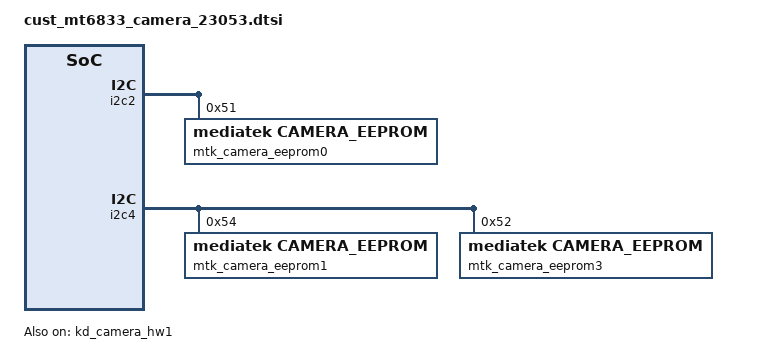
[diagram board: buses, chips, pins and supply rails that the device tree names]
/*
 * Copyright (c) 2019 MediaTek Inc.
 *
 * This program is free software; you can redistribute it and/or modify
 * it under the terms of the GNU General Public License version 2 as
 * published by the Free Software Foundation.
 *
 * This program is distributed in the hope that it will be useful,
 * but WITHOUT ANY WARRANTY; without even the implied warranty of
 * MERCHANTABILITY or FITNESS FOR A PARTICULAR PURPOSE.  See the
 * GNU General Public License for more details.
 */
/* CAMERA GPIO standardization */
&pio {
	camera_pins_cam0_rst_0: cam0@0 {
		pins_cmd_dat {
			pinmux = <PINMUX_GPIO54__FUNC_GPIO54>;
			slew-rate = <1>;
			output-low;
		};
	};
	camera_pins_cam0_rst_1: cam0@1 {
		pins_cmd_dat {
			pinmux = <PINMUX_GPIO54__FUNC_GPIO54>;
			slew-rate = <1>;
			output-high;
		};
	};
	camera_pins_cam1_rst_0: cam1@0 {
		pins_cmd_dat {
			pinmux = <PINMUX_GPIO60__FUNC_GPIO60>;
			slew-rate = <1>;
			output-low;
		};
	};
	camera_pins_cam1_rst_1: cam1@1 {
		pins_cmd_dat {
			pinmux = <PINMUX_GPIO60__FUNC_GPIO60>;
			slew-rate = <1>;
			output-high;
		};
	};
	camera_pins_cam2_rst_0: cam2@0 {
		pins_cmd_dat {
			pinmux = <PINMUX_GPIO58__FUNC_GPIO58>;
			slew-rate = <1>;
			output-low;
		};
	};
	camera_pins_cam2_rst_1: cam2@1 {
		pins_cmd_dat {
			pinmux = <PINMUX_GPIO58__FUNC_GPIO58>;
			slew-rate = <1>;
			output-high;
		};
	};
	camera_pins_cam0_pnd_0: cam0@2 {
		pins_cmd_dat {
			pinmux = <PINMUX_GPIO101__FUNC_GPIO101>;
			slew-rate = <1>;
			output-low;
		};
	};
	camera_pins_cam0_pnd_1: cam0@3 {
		pins_cmd_dat {
			pinmux = <PINMUX_GPIO101__FUNC_SCL2>;
			slew-rate = <0>;
			bias-pull-up;
		};
	};
	camera_pins_cam0_vcamd1_0: cam0@vcamd0 {
		pins_cmd_dat {
			pinmux = <PINMUX_GPIO102__FUNC_GPIO102>;
			slew-rate = <1>;
			output-low;
		};
	};
	camera_pins_cam0_vcamd1_1: cam0@vcamd1  {
		pins_cmd_dat {
			pinmux = <PINMUX_GPIO102__FUNC_SDA2>;
			slew-rate = <0>;
			bias-pull-up;
		};
	};
	camera_pins_cam2_vcama1_0: cam2@2 {
		pins_cmd_dat {
			pinmux = <PINMUX_GPIO113__FUNC_GPIO113>;
			slew-rate = <1>;
			output-low;
		};
	};
	camera_pins_cam2_vcama1_1: cam2@3 {
		pins_cmd_dat {
			pinmux = <PINMUX_GPIO113__FUNC_SCL8>;
			slew-rate = <0>;
			bias-pull-up;
		};
	};
	camera_pins_cam2_vcamd_0: cam2@vcamd0 {
		pins_cmd_dat {
			pinmux = <PINMUX_GPIO114__FUNC_GPIO114>;
			slew-rate = <1>;
			output-low;
		};
	};
	camera_pins_cam2_vcamd_1: cam2@vcamd1  {
		pins_cmd_dat {
			pinmux = <PINMUX_GPIO114__FUNC_SDA8>;
			slew-rate = <0>;
			bias-pull-up;
		};
	};
	camera_pins_cam0_mclk_off: camera_pins_cam0_mclk_off {
		pins_cmd_dat {
			pinmux = <PINMUX_GPIO49__FUNC_GPIO49>;
			drive-strength = <1>;
		};
	};
	camera_pins_cam0_mclk_2ma: camera_pins_cam0_mclk_2ma {
		pins_cmd_dat {
			pinmux = <PINMUX_GPIO49__FUNC_CMMCLK0>;
			drive-strength = <0>;
		};
	};
	camera_pins_cam0_mclk_4ma: camera_pins_cam0_mclk_4ma {
		pins_cmd_dat {
			pinmux = <PINMUX_GPIO49__FUNC_CMMCLK0>;
			drive-strength = <1>;
		};
	};
	camera_pins_cam0_mclk_6ma: camera_pins_cam0_mclk_6ma {
		pins_cmd_dat {
			pinmux = <PINMUX_GPIO49__FUNC_CMMCLK0>;
			drive-strength = <2>;
		};
	};
	camera_pins_cam0_mclk_8ma: camera_pins_cam0_mclk_8ma {
		pins_cmd_dat {
			pinmux = <PINMUX_GPIO49__FUNC_CMMCLK0>;
			drive-strength = <3>;
		};
	};
	camera_pins_cam1_mclk_off: camera_pins_cam1_mclk_off {
		pins_cmd_dat {
			pinmux = <PINMUX_GPIO52__FUNC_GPIO52>;
			drive-strength = <1>;
		};
	};
	camera_pins_cam1_mclk_2ma: camera_pins_cam1_mclk_2ma {
		pins_cmd_dat {
			pinmux = <PINMUX_GPIO52__FUNC_CMMCLK3>;
			drive-strength = <0>;
		};
	};
	camera_pins_cam1_mclk_4ma: camera_pins_cam1_mclk_4ma {
		pins_cmd_dat {
			pinmux = <PINMUX_GPIO52__FUNC_CMMCLK3>;
			drive-strength = <1>;
		};
	};
	camera_pins_cam1_mclk_6ma: camera_pins_cam1_mclk_6ma {
		pins_cmd_dat {
			pinmux = <PINMUX_GPIO52__FUNC_CMMCLK3>;
			drive-strength = <2>;
		};
	};
	camera_pins_cam1_mclk_8ma: camera_pins_cam1_mclk_8ma {
		pins_cmd_dat {
			pinmux = <PINMUX_GPIO52__FUNC_CMMCLK3>;
			drive-strength = <3>;
		};
	};
	camera_pins_cam2_mclk_off: camera_pins_cam2_mclk_off {
		pins_cmd_dat {
			pinmux = <PINMUX_GPIO51__FUNC_GPIO51>;
			drive-strength = <1>;
		};
	};
	camera_pins_cam2_mclk_2ma: camera_pins_cam2_mclk_2ma {
		pins_cmd_dat {
			pinmux = <PINMUX_GPIO51__FUNC_CMMCLK2>;
			drive-strength = <0>;
		};
	};
	camera_pins_cam2_mclk_4ma: camera_pins_cam2_mclk_4ma {
		pins_cmd_dat {
			pinmux = <PINMUX_GPIO51__FUNC_CMMCLK2>;
			drive-strength = <1>;
		};
	};
	camera_pins_cam2_mclk_6ma: camera_pins_cam2_mclk_6ma {
		pins_cmd_dat {
			pinmux = <PINMUX_GPIO51__FUNC_CMMCLK2>;
			drive-strength = <2>;
		};
	};
	camera_pins_cam2_mclk_8ma: camera_pins_cam2_mclk_8ma {
		pins_cmd_dat {
			pinmux = <PINMUX_GPIO51__FUNC_CMMCLK2>;
			drive-strength = <3>;
		};
	};
	camera_pins_default: camdefault {
	};
};
&kd_camera_hw1 {
	pinctrl-names = "default",
			"cam0_rst0", "cam0_rst1",
			"cam1_rst0", "cam1_rst1",
			"cam2_rst0", "cam2_rst1",
			"cam0_mclk_off",
			"cam0_mclk_2mA", "cam0_mclk_4mA",
			"cam0_mclk_6mA", "cam0_mclk_8mA",
			"cam1_mclk_off",
			"cam1_mclk_2mA", "cam1_mclk_4mA",
			"cam1_mclk_6mA", "cam1_mclk_8mA",
			"cam2_mclk_off",
			"cam2_mclk_2mA", "cam2_mclk_4mA",
			"cam2_mclk_6mA", "cam2_mclk_8mA",
			"cam0_pnd0", "cam0_pnd1",                 //main camera SCL2
			"cam0_ldo_vcamd1_0", "cam0_ldo_vcamd1_1", //main camera SDA2
			"cam2_ldo_vcama1_0", "cam2_ldo_vcama1_1",//main2 camera SCL8
			"cam2_ldo_vcamd_0", "cam2_ldo_vcamd_1";  //main2 camera SDA8
	pinctrl-0 = <&camera_pins_default>;
	pinctrl-1 = <&camera_pins_cam0_rst_0>;
	pinctrl-2 = <&camera_pins_cam0_rst_1>;
	pinctrl-3 = <&camera_pins_cam1_rst_0>;
	pinctrl-4 = <&camera_pins_cam1_rst_1>;
	pinctrl-5 = <&camera_pins_cam2_rst_0>;
	pinctrl-6 = <&camera_pins_cam2_rst_1>;
	pinctrl-7 = <&camera_pins_cam0_mclk_off>;
	pinctrl-8 = <&camera_pins_cam0_mclk_2ma>;
	pinctrl-9 = <&camera_pins_cam0_mclk_4ma>;
	pinctrl-10 = <&camera_pins_cam0_mclk_6ma>;
	pinctrl-11 = <&camera_pins_cam0_mclk_8ma>;
	pinctrl-12 = <&camera_pins_cam1_mclk_off>;
	pinctrl-13 = <&camera_pins_cam1_mclk_2ma>;
	pinctrl-14 = <&camera_pins_cam1_mclk_4ma>;
	pinctrl-15 = <&camera_pins_cam1_mclk_6ma>;
	pinctrl-16 = <&camera_pins_cam1_mclk_8ma>;
	pinctrl-17 = <&camera_pins_cam2_mclk_off>;
	pinctrl-18 = <&camera_pins_cam2_mclk_2ma>;
	pinctrl-19 = <&camera_pins_cam2_mclk_4ma>;
	pinctrl-20 = <&camera_pins_cam2_mclk_6ma>;
	pinctrl-21 = <&camera_pins_cam2_mclk_8ma>;
	pinctrl-22 = <&camera_pins_cam0_pnd_0>;
	pinctrl-23 = <&camera_pins_cam0_pnd_1>;
	pinctrl-24 = <&camera_pins_cam0_vcamd1_0>;
	pinctrl-25 = <&camera_pins_cam0_vcamd1_1>;
	pinctrl-26 = <&camera_pins_cam2_vcama1_0>;
	pinctrl-27 = <&camera_pins_cam2_vcama1_1>;
	pinctrl-28 = <&camera_pins_cam2_vcamd_0>;
	pinctrl-29 = <&camera_pins_cam2_vcamd_1>;

	cam0_vcamio-supply = <&mt_pmic_vcamio_ldo_reg>;
	cam1_vcamio-supply = <&mt_pmic_vcamio_ldo_reg>;
	cam2_vcamio-supply = <&mt_pmic_vcamio_ldo_reg>;

	cam0_vcama-supply = <&cam1_vcama>;
	cam1_vcama-supply = <&cam1_vcama>;
	cam2_vcama-supply = <&cam1_vcama>;

	cam0_vcamd-supply = <&mt_pmic_vcn13_ldo_reg>;
	cam1_vcamd-supply = <&mt_pmic_vcn13_ldo_reg>;

	vcammainaf-supply = <&mt_pmic_vtp_ldo_reg>;

	cam0_enable_sensor = "s5k3l6_mipi_raw_lijinga";
	cam1_enable_sensor = "hi556_mipi_raw_lijinga sc520cs_mipi_raw_lijinga";

	status = "okay";
};
/* CAMERA GPIO end */

/* CAMERA EEPROM */
&i2c2 {
	mtk_camera_eeprom0:camera_eeprom0@50 {
		compatible = "mediatek,camera_eeprom";
		reg = <0x51>;
		status = "okay";
	};
};
&i2c4 {
	mtk_camera_eeprom1:camera_eeprom1@54 {
		compatible = "mediatek,camera_eeprom";
		reg = <0x54>;
		status = "okay";
	};
};
&i2c4 {
	mtk_camera_eeprom3:camera_eeprom3@52 {
		compatible = "mediatek,camera_eeprom";
		reg = <0x52>;
		status = "okay";
	};
};
/* CAMERA EEPROM end */

